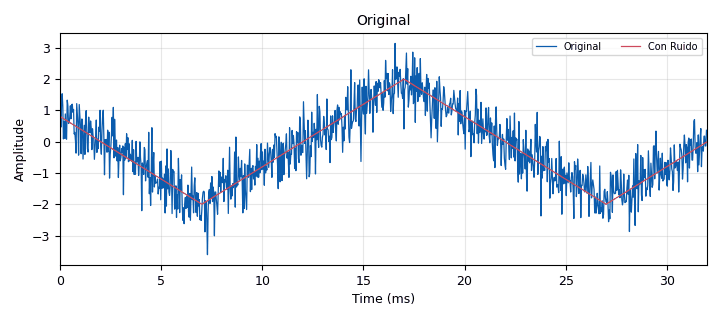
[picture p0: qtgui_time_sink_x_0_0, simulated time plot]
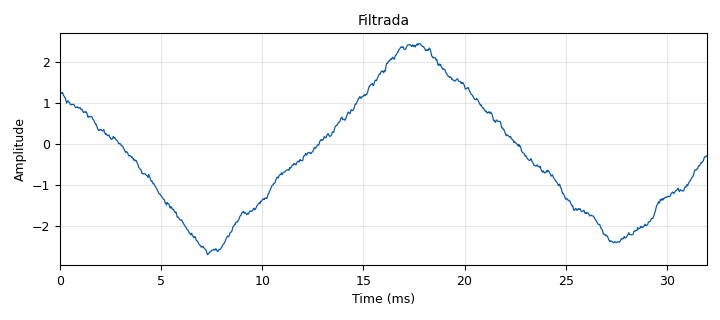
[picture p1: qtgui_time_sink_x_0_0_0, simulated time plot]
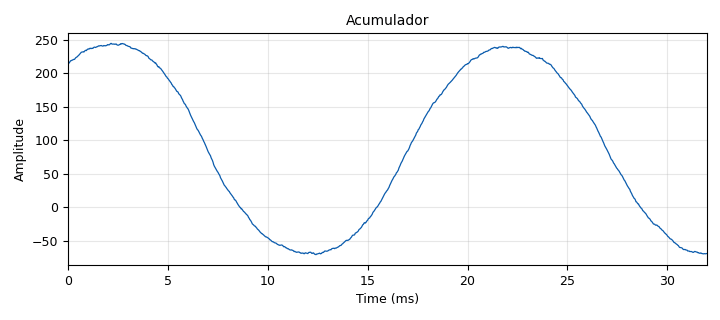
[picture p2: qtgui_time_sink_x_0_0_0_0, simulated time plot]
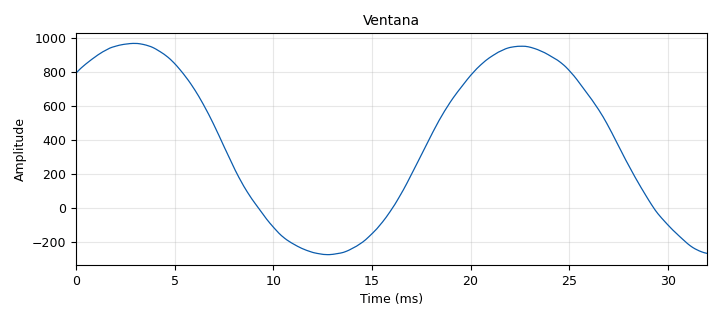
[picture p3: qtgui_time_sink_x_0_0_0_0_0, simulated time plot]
options:
  parameters:
    author: CARLOS_CARREÑO_JUAN_PINTO
    generate_options: qt_gui
    id: Lab_Comu_II_APLI
    output_language: python
    title: Lab_Comu_II_APLI
  states: {}

blocks:
- name: Puntos
  id: variable
  parameters:
    value: '1024'
  states: {}
- name: samp_rate
  id: variable
  parameters:
    value: '32000'
  states: {}
- name: analog_noise_source_x_0
  id: analog_noise_source_x
  parameters:
    amp: '0.5'
    noise_type: analog.GR_GAUSSIAN
    seed: '0'
    type: float
  states: {}
- name: analog_sig_source_x_0
  id: analog_sig_source_x
  parameters:
    amp: '4'
    freq: '50'
    offset: '-2'
    phase: '1.57'
    samp_rate: samp_rate
    type: float
    waveform: analog.GR_TRI_WAVE
  states: {}
- name: blocks_add_xx_0
  id: blocks_add_xx
  parameters:
    type: float
  states: {}
- name: blocks_moving_average_xx_0
  id: blocks_moving_average_xx
  parameters:
    length: '40'
    max_iter: '60'
    scale: '0.1'
    type: float
  states: {}
- name: blocks_multiply_const_vxx_0
  id: blocks_multiply_const_vxx
  parameters:
    const: 1/3
    type: float
  states: {}
- name: blocks_throttle2_0
  id: blocks_throttle2
  parameters:
    samples_per_second: samp_rate
    type: float
  states: {}
- name: epy_block_0
  id: epy_block
  parameters:
    _source_code: |-
      """
      Embedded Python Blocks:

      Each time this file is saved, GRC will instantiate the first class it finds
      to get ports and parameters of your block. The arguments to __init__  will
      be the parameters. All of them are required to have default values!
      """
      import numpy as np
      from gnuradio import gr

      class blk(gr.sync_block):
          def __init__( self ): # only default arguments here
              gr.sync_block.__init__(
              self ,
              name = 'Promedios_de_tiempos', # will show up in GRC
              in_sig =[ np.float32 ],
              out_sig =[ np.float32 ,np.float32 ,np.float32 ,np.float32 ])
              self.acum_anterior = 0
              self.Ntotales = 0
              self.acum_anterior1 = 0
              self.acum_anterior2 = 0

          def work(self , input_items , output_items ):
              x = input_items[0] # Senial de entrada .
              y0 = output_items[0] # Promedio de la senial
              y1 = output_items[1] # Media de la senial
              y2 = output_items[2] # RMS de la senial
              y3 = output_items[3] # Desviacion estandar de la senial

              # Calculo del promedio
              N = len(x)
              self.Ntotales = self.Ntotales + N
              acumulado = self.acum_anterior + np.cumsum(x)
              self.acum_anterior = acumulado[N-1]
              y0[:]= acumulado/self.Ntotales

              # Calculo de la potencia promedio 
              x2=np.multiply(x,x)
              acumulado1 = self.acum_anterior1 + np.cumsum(x2)
              self.acum_anterior1 = acumulado1[N -1]
              y1[:] = acumulado1/self.Ntotales

              # Calculo de la RMS
              y2[:] = np.sqrt(y1)

              # Calculo de la desviacion estandar
              x3 = np.multiply(x-y0 ,x-y0)
              acumulado2 = self.acum_anterior2 + np.cumsum(x3)
              self.acum_anterior2 = acumulado2[N -1]
              y3[:] = np.sqrt( acumulado2/self.Ntotales )
              return len(x)
  states: {}
- name: epy_block_0_0
  id: epy_block
  parameters:
    _source_code: |-
      """
      Embedded Python Blocks:

      Each time this file is saved, GRC will instantiate the first class it finds
      to get ports and parameters of your block. The arguments to __init__  will
      be the parameters. All of them are required to have default values!
      """
      import numpy as np
      from gnuradio import gr

      class blk(gr.sync_block):
          def __init__( self ): # only default arguments here
              gr.sync_block.__init__(
              self ,
              name = 'Promedios_de_tiempos', # will show up in GRC
              in_sig =[ np.float32 ],
              out_sig =[ np.float32 ,np.float32 ,np.float32 ,np.float32 ])
              self.acum_anterior = 0
              self.Ntotales = 0
              self.acum_anterior1 = 0
              self.acum_anterior2 = 0

          def work(self , input_items , output_items ):
              x = input_items[0] # Senial de entrada .
              y0 = output_items[0] # Promedio de la senial
              y1 = output_items[1] # Media de la senial
              y2 = output_items[2] # RMS de la senial
              y3 = output_items[3] # Desviacion estandar de la senial

              # Calculo del promedio
              N = len(x)
              self.Ntotales = self.Ntotales + N
              acumulado = self.acum_anterior + np.cumsum(x)
              self.acum_anterior = acumulado[N-1]
              y0[:]= acumulado/self.Ntotales

              # Calculo de la potencia promedio 
              x2=np.multiply(x,x)
              acumulado1 = self.acum_anterior1 + np.cumsum(x2)
              self.acum_anterior1 = acumulado1[N -1]
              y1[:] = acumulado1/self.Ntotales

              # Calculo de la RMS
              y2[:] = np.sqrt(y1)

              # Calculo de la desviacion estandar
              x3 = np.multiply(x-y0 ,x-y0)
              acumulado2 = self.acum_anterior2 + np.cumsum(x3)
              self.acum_anterior2 = acumulado2[N -1]
              y3[:] = np.sqrt( acumulado2/self.Ntotales )
              return len(x)
  states: {}
- name: epy_block_0_1
  id: epy_block
  parameters:
    _source_code: |-
      """
      Embedded Python Blocks:

      Each time this file is saved, GRC will instantiate the first class it finds
      to get ports and parameters of your block. The arguments to __init__  will
      be the parameters. All of them are required to have default values!
      """
      import numpy as np
      from gnuradio import gr

      class blk(gr.sync_block):
          def __init__( self ): # only default arguments here
              gr.sync_block.__init__(
              self ,
              name = 'Promedios_de_tiempos', # will show up in GRC
              in_sig =[ np.float32 ],
              out_sig =[ np.float32 ,np.float32 ,np.float32 ,np.float32 ])
              self.acum_anterior = 0
              self.Ntotales = 0
              self.acum_anterior1 = 0
              self.acum_anterior2 = 0

          def work(self , input_items , output_items ):
              x = input_items[0] # Senial de entrada .
              y0 = output_items[0] # Promedio de la senial
              y1 = output_items[1] # Media de la senial
              y2 = output_items[2] # RMS de la senial
              y3 = output_items[3] # Desviacion estandar de la senial

              # Calculo del promedio
              N = len(x)
              self.Ntotales = self.Ntotales + N
              acumulado = self.acum_anterior + np.cumsum(x)
              self.acum_anterior = acumulado[N-1]
              y0[:]= acumulado/self.Ntotales

              # Calculo de la potencia promedio 
              x2=np.multiply(x,x)
              acumulado1 = self.acum_anterior1 + np.cumsum(x2)
              self.acum_anterior1 = acumulado1[N -1]
              y1[:] = acumulado1/self.Ntotales

              # Calculo de la RMS
              y2[:] = np.sqrt(y1)

              # Calculo de la desviacion estandar
              x3 = np.multiply(x-y0 ,x-y0)
              acumulado2 = self.acum_anterior2 + np.cumsum(x3)
              self.acum_anterior2 = acumulado2[N -1]
              y3[:] = np.sqrt( acumulado2/self.Ntotales )
              return len(x)
  states: {}
- name: epy_block_0_2
  id: epy_block
  parameters:
    _source_code: |-
      """
      Embedded Python Blocks:

      Each time this file is saved, GRC will instantiate the first class it finds
      to get ports and parameters of your block. The arguments to __init__  will
      be the parameters. All of them are required to have default values!
      """

      import numpy as np
      from gnuradio import gr

      class blk(gr.sync_block ):
          def __init__ ( self ) : # only default arguments here
              gr.sync_block.__init__ (
              self ,
              name ="e_Acum2", # will show up in GRC
              in_sig =[ np.float32 ],
              out_sig =[ np.float32 ])
              self.acumulado_anterior = 0  # Para almacenar el valor acumulado hasta el momento

          def work(self, input_items, output_items):
              x = input_items[0]  # Senal de entrada
              y = output_items[0]  # Senal acumulada
              N = len(x)

              # Calcular el acumulado, continuando desde el valor acumulado anterior
              y[:] = (np.cumsum(x) + self.acumulado_anterior) 
              # Guardar el valor acumulado para el siguiente bloque
              self.acumulado_anterior = y[N-1]  # El ultimo valor acumulado se guarda

              return len(y)
      #    def work (self , input_items , output_items ):
      #        x = input_items[0] # Senial de entrada .
      #        y0 = output_items[0] # Senial acumulada
      #        y0[:] = np.cumsum(x)
              #y0 [:] = len(y0)
      #        return len(y0)
    comment: Acumulador
  states: {}
- name: epy_block_0_3
  id: epy_block
  parameters:
    _source_code: |-
      """
      Embedded Python Blocks:

      Each time this file is saved, GRC will instantiate the first class it finds
      to get ports and parameters of your block. The arguments to __init__  will
      be the parameters. All of them are required to have default values!
      """
      import numpy as np
      from gnuradio import gr

      class blk(gr.sync_block):
          def __init__( self ): # only default arguments here
              gr.sync_block.__init__(
              self ,
              name = 'Promedios_de_tiempos', # will show up in GRC
              in_sig =[ np.float32 ],
              out_sig =[ np.float32 ,np.float32 ,np.float32 ,np.float32 ])
              self.acum_anterior = 0
              self.Ntotales = 0
              self.acum_anterior1 = 0
              self.acum_anterior2 = 0

          def work(self , input_items , output_items ):
              x = input_items[0] # Senial de entrada .
              y0 = output_items[0] # Promedio de la senial
              y1 = output_items[1] # Media de la senial
              y2 = output_items[2] # RMS de la senial
              y3 = output_items[3] # Desviacion estandar de la senial

              # Calculo del promedio
              N = len(x)
              self.Ntotales = self.Ntotales + N
              acumulado = self.acum_anterior + np.cumsum(x)
              self.acum_anterior = acumulado[N-1]
              y0[:]= acumulado/self.Ntotales

              # Calculo de la potencia promedio 
              x2=np.multiply(x,x)
              acumulado1 = self.acum_anterior1 + np.cumsum(x2)
              self.acum_anterior1 = acumulado1[N -1]
              y1[:] = acumulado1/self.Ntotales

              # Calculo de la RMS
              y2[:] = np.sqrt(y1)

              # Calculo de la desviacion estandar
              x3 = np.multiply(x-y0 ,x-y0)
              acumulado2 = self.acum_anterior2 + np.cumsum(x3)
              self.acum_anterior2 = acumulado2[N -1]
              y3[:] = np.sqrt( acumulado2/self.Ntotales )
              return len(x)
  states: {}
- name: epy_block_1_1
  id: epy_block
  parameters:
    _source_code: |
      """
      Embedded Python Blocks:

      Each time this file is saved, GRC will instantiate the first class it finds
      to get ports and parameters of your block. The arguments to __init__  will
      be the parameters. All of them are required to have default values!
      """
      import numpy as np
      from gnuradio import gr
      class blk(gr.sync_block ):
      	def __init__( self ) : # only default arguments here
      		gr.sync_block.__init__ (
      			self ,
      			name ="e_Diff2" , # will show up in GRC
      			in_sig =[ np.float32 ],
      			out_sig =[ np.float32 ]
      		)
      		self.anterior = 0
      	def work(self , input_items , output_items ):
      		x = input_items[0]  # Senal de entrada
      		y = output_items[0]  # Senal diferenciada
      		N = len(x)

              # Calcular la diferencia entre valores consecutivos
      		y[0] = x[0] - self.anterior  # Diferencia con el valor anterior
      		y[1:] = np.diff(x)  # Diferencia entre valores consecutivos de la senal

              # Actualizar el valor anterior para el siguiente bloque de procesamiento
      		self.anterior = x[-1]
      		
      		return len(y)
    comment: Diferenciador
  states: {}
- name: qtgui_number_sink_0
  id: qtgui_number_sink
  parameters:
    autoscale: 'True'
    color1: ("black", "red")
    graph_type: qtgui.NUM_GRAPH_HORIZ
    gui_hint: (2,1,1,1)
    label1: '"Promedio(Media)"'
    label2: '"Media cuadratica"'
    label3: '"Rms"'
    label4: '"Desviacion"'
    name: '"Señal Ruido"'
    nconnections: '4'
    type: float
  states: {}
- name: qtgui_number_sink_0_0
  id: qtgui_number_sink
  parameters:
    autoscale: 'True'
    color1: ("black", "red")
    graph_type: qtgui.NUM_GRAPH_HORIZ
    gui_hint: (2,2,1,1)
    label1: '"Promedio(Media)"'
    label2: '"Media cuadratica"'
    label3: '"Rms"'
    label4: '"Desviacion"'
    name: '"Acumulador"'
    nconnections: '4'
    type: float
  states: {}
- name: qtgui_number_sink_0_1
  id: qtgui_number_sink
  parameters:
    autoscale: 'True'
    color1: ("black", "red")
    graph_type: qtgui.NUM_GRAPH_HORIZ
    gui_hint: (2,3,1,1)
    label1: '"Promedio(Media)"'
    label2: '"Media cuadratica"'
    label3: '"Rms"'
    label4: '"Desviacion"'
    name: '"Señal Filtrada"'
    nconnections: '4'
    type: float
  states: {}
- name: qtgui_number_sink_0_2
  id: qtgui_number_sink
  parameters:
    autoscale: 'True'
    color1: ("black", "red")
    graph_type: qtgui.NUM_GRAPH_HORIZ
    gui_hint: (2,0,1,1)
    label1: '"Promedio(Media)"'
    label2: '"Media cuadratica"'
    label3: '"Rms"'
    label4: '"Desviacion"'
    name: '"Señal Original"'
    nconnections: '4'
    type: float
  states: {}
- name: qtgui_time_sink_x_0_0
  id: qtgui_time_sink_x
  parameters:
    autoscale: 'True'
    color2: black
    entags: 'False'
    grid: 'True'
    gui_hint: (0,0,1,2)
    label1: Original
    label2: Con Ruido
    name: '"Original"'
    nconnections: '2'
    size: Puntos
    srate: samp_rate
    type: float
    update_time: '0.5'
    ymax: '6'
    ymin: '-6'
  states: {}
- name: qtgui_time_sink_x_0_0_0
  id: qtgui_time_sink_x
  parameters:
    autoscale: 'True'
    grid: 'True'
    gui_hint: (0,2,1,2)
    label1: Signal 4
    name: '"Filtrada"'
    size: Puntos
    srate: samp_rate
    type: float
    update_time: '0.5'
    ymax: '4'
    ymin: '-4'
  states: {}
- name: qtgui_time_sink_x_0_0_0_0
  id: qtgui_time_sink_x
  parameters:
    autoscale: 'True'
    entags: 'False'
    grid: 'True'
    gui_hint: (1,0,1,2)
    label1: Signal 4
    name: '"Acumulador"'
    size: Puntos
    srate: samp_rate
    type: float
    update_time: '0.5'
    ymax: '4'
    ymin: '-4'
  states: {}
- name: qtgui_time_sink_x_0_0_0_0_0
  id: qtgui_time_sink_x
  parameters:
    autoscale: 'True'
    grid: 'True'
    gui_hint: (1,2,1,2)
    label1: Signal 4
    name: '"Ventana"'
    size: Puntos
    srate: samp_rate
    type: float
    update_time: '0.5'
    ymax: '4'
    ymin: '-4'
  states: {}

connections:
- [analog_noise_source_x_0, '0', blocks_add_xx_0, '1']
- [analog_sig_source_x_0, '0', blocks_add_xx_0, '0']
- [analog_sig_source_x_0, '0', epy_block_0_3, '0']
- [analog_sig_source_x_0, '0', qtgui_time_sink_x_0_0, '1']
- [blocks_add_xx_0, '0', blocks_throttle2_0, '0']
- [blocks_moving_average_xx_0, '0', epy_block_1_1, '0']
- [blocks_moving_average_xx_0, '0', qtgui_time_sink_x_0_0_0_0_0, '0']
- [blocks_multiply_const_vxx_0, '0', epy_block_0_1, '0']
- [blocks_multiply_const_vxx_0, '0', qtgui_time_sink_x_0_0_0, '0']
- [blocks_throttle2_0, '0', epy_block_0, '0']
- [blocks_throttle2_0, '0', epy_block_0_2, '0']
- [blocks_throttle2_0, '0', qtgui_time_sink_x_0_0, '0']
- [epy_block_0, '0', qtgui_number_sink_0, '0']
- [epy_block_0, '1', qtgui_number_sink_0, '1']
- [epy_block_0, '2', qtgui_number_sink_0, '2']
- [epy_block_0, '3', qtgui_number_sink_0, '3']
- [epy_block_0_0, '0', qtgui_number_sink_0_0, '0']
- [epy_block_0_0, '1', qtgui_number_sink_0_0, '1']
- [epy_block_0_0, '2', qtgui_number_sink_0_0, '2']
- [epy_block_0_0, '3', qtgui_number_sink_0_0, '3']
- [epy_block_0_1, '0', qtgui_number_sink_0_1, '0']
- [epy_block_0_1, '1', qtgui_number_sink_0_1, '1']
- [epy_block_0_1, '2', qtgui_number_sink_0_1, '2']
- [epy_block_0_1, '3', qtgui_number_sink_0_1, '3']
- [epy_block_0_2, '0', blocks_moving_average_xx_0, '0']
- [epy_block_0_2, '0', epy_block_0_0, '0']
- [epy_block_0_2, '0', qtgui_time_sink_x_0_0_0_0, '0']
- [epy_block_0_3, '0', qtgui_number_sink_0_2, '0']
- [epy_block_0_3, '1', qtgui_number_sink_0_2, '1']
- [epy_block_0_3, '2', qtgui_number_sink_0_2, '2']
- [epy_block_0_3, '3', qtgui_number_sink_0_2, '3']
- [epy_block_1_1, '0', blocks_multiply_const_vxx_0, '0']

metadata:
  file_format: 1
  grc_version: 3.10.9.2
